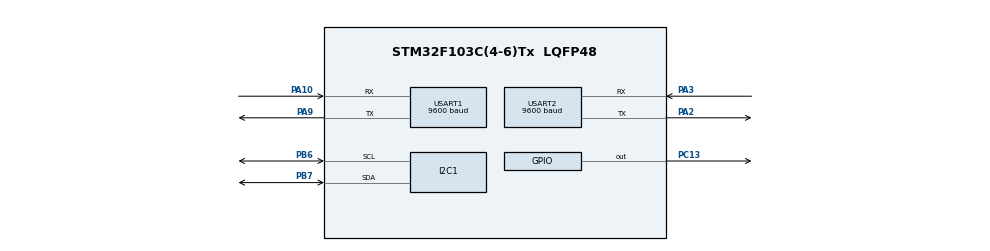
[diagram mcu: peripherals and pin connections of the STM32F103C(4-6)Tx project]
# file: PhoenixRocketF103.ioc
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Mcu.Family=STM32F1
Mcu.Name=STM32F103C(4-6)Tx
Mcu.Package=LQFP48
NVIC.PriorityGroup=NVIC_PRIORITYGROUP_4
NVIC.USART2_IRQn=true\:0\:0\:false\:false\:true\:true\:true\:true
PA10.Mode=Asynchronous
PA10.Signal=USART1_RX
PA13.Mode=Serial_Wire
PA13.Signal=SYS_JTMS-SWDIO
PA14.Mode=Serial_Wire
PA14.Signal=SYS_JTCK-SWCLK
PA2.Mode=Asynchronous
PA2.Signal=USART2_TX
PA3.Mode=Asynchronous
PA3.Signal=USART2_RX
PA9.Mode=Asynchronous
PA9.Signal=USART1_TX
PB6.GPIO_Pu=GPIO_NOPULL
PB6.Mode=I2C
PB6.Signal=I2C1_SCL
PB7.GPIO_Pu=GPIO_NOPULL
PB7.Mode=I2C
PB7.Signal=I2C1_SDA
PC13-TAMPER-RTC.Signal=GPIO_Output
ProjectManager.HeapSize=0x200
ProjectManager.StackSize=0x400
ProjectManager.TargetToolchain=STM32CubeIDE
RCC.APB1Freq_Value=8000000
RCC.APB2Freq_Value=8000000
USART1.BaudRate=9600
USART1.VirtualMode=VM_ASYNC
USART2.BaudRate=9600
USART2.VirtualMode=VM_ASYNC
board=custom

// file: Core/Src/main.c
/* USER CODE BEGIN Header */
/**
  ******************************************************************************
  * @file           : main.c
  * @brief          : Main program body
  ******************************************************************************
  * @attention
  *
  * Copyright (c) 2025 STMicroelectronics.
  * All rights reserved.
  *
  * This software is licensed under terms that can be found in the LICENSE file
  * in the root directory of this software component.
  * If no LICENSE file comes with this software, it is provided AS-IS.
  *
  ******************************************************************************
  */
/* USER CODE END Header */
#include "main.h"

/* USER CODE BEGIN Includes */
#include "mpu9250.h"
#include "string.h"
#include <stdio.h>
#include "bmp280.h"
/* USER CODE END Includes */

I2C_HandleTypeDef hi2c1;

UART_HandleTypeDef huart1;
UART_HandleTypeDef huart2;

void SystemClock_Config(void);
static void MX_GPIO_Init(void);
static void MX_I2C1_Init(void);
static void MX_USART1_UART_Init(void);
static void MX_USART2_UART_Init(void);

/* USER CODE BEGIN 0 */

void send_uart_message(char *message) {
    HAL_UART_Transmit(&huart1, (uint8_t*)message, strlen(message), HAL_MAX_DELAY);
}
void UART_Send_LowByte(UART_HandleTypeDef *huart, int16_t data) {
    uint8_t lowerByte = data & 0xFF;  // Extract the lower 8 bits
    HAL_UART_Transmit(huart, &lowerByte, 1, HAL_MAX_DELAY);  // Send only 1 byte
}
//void sendFloatAsString(float value) {
//	uint32_t val=(uint32_t)value;
//	HAL_UART_Transmit(&huart1,&val ,1, HAL_MAX_DELAY);
//}
void sendFloatAsBytes(float value) {
    uint8_t buffer[4];
    memcpy(buffer, &value, 4);  // Float'ı 4 byte'a böl
    HAL_UART_Transmit(&huart1, buffer, 4, HAL_MAX_DELAY);
}

void sendGyroData(int16_t gx,int16_t gy,int16_t gz) {
    uint8_t data[6];

    // Convert int16_t values to bytes
    data[0] = (gx >> 8) & 0xFF;  data[1] = gx & 0xFF;
    data[2] = (gy >> 8) & 0xFF;  data[3] = gy & 0xFF;
    data[4] = (gz >> 8) & 0xFF;  data[5] = gz & 0xFF;

    // Send all 6 bytes
    HAL_UART_Transmit(&huart1, data, 6, HAL_MAX_DELAY);
}

void sendBmpData(float altitude, float pressure, float temperature) {
    sendFloatAsBytes(altitude);
    sendFloatAsBytes(pressure);
    sendFloatAsBytes(temperature);
}

MPU9250_Data mpu_data;

#include "lwgps/lwgps.h"
lwgps_t gps;

uint8_t rx_buffer [128] ;
uint8_t rx_data = 0 ;
uint8_t rx_index = 0 ;

void HAL_UART_RxCpltCallback(UART_HandleTypeDef *huart){
	if(huart == &huart2){
		if(rx_data != '\n' && rx_index < sizeof(rx_buffer)){
			rx_buffer[rx_index] = rx_data;
			rx_index++;
		}else{
			lwgps_process(&gps, rx_buffer, rx_index+1);
			rx_index = 0;
			rx_data = 0; //
		}
		HAL_UART_Receive_IT(&huart2, &rx_data, 1);
	}

}

/* USER CODE END 0 */

int main(void)
{

  /* MCU Configuration--------------------------------------------------------*/

  /* Reset of all peripherals, Initializes the Flash interface and the Systick. */
  HAL_Init();

  /* Configure the system clock */
  SystemClock_Config();

  /* Initialize all configured peripherals */
  MX_GPIO_Init();
  MX_I2C1_Init();
  MX_USART1_UART_Init();
  MX_USART2_UART_Init();
  /* USER CODE BEGIN 2 */
  lwgps_init(&gps);

  HAL_UART_Receive_IT(&huart2, &rx_data, 1);

  MPU9250_Init(&hi2c1);
  BMP280_Data bmp280_data;
  BMP280_Init(&hi2c1, &bmp280_data);
//  char msg[] = "Hello, UART!\r\n";

  /* USER CODE END 2 */

  /* Infinite loop */
  /* USER CODE BEGIN WHILE */
  while (1)
  {
//	  sendFloatAsBytes(gps.latitude);
//
//	  gps.sats_in_view;

//	  send_uart_message(msg);
	  HAL_Delay(100);
	  BMP280_Read_Data(&hi2c1, &bmp280_data);

//	  MPU9250_Read_All(&hi2c1, &mpu_data);
	  sendBmpData(bmp280_data.altitude, bmp280_data.pressure, bmp280_data.temperature);

    /* USER CODE END WHILE */

  }
}

void SystemClock_Config(void)
{
  RCC_OscInitTypeDef RCC_OscInitStruct = {0};
  RCC_ClkInitTypeDef RCC_ClkInitStruct = {0};

  /** Initializes the RCC Oscillators according to the specified parameters
  * in the RCC_OscInitTypeDef structure.
  */
  RCC_OscInitStruct.OscillatorType = RCC_OSCILLATORTYPE_HSI;
  RCC_OscInitStruct.HSIState = RCC_HSI_ON;
  RCC_OscInitStruct.HSICalibrationValue = RCC_HSICALIBRATION_DEFAULT;
  RCC_OscInitStruct.PLL.PLLState = RCC_PLL_NONE;
  if (HAL_RCC_OscConfig(&RCC_OscInitStruct) != HAL_OK)
  {
    Error_Handler();
  }

  /** Initializes the CPU, AHB and APB buses clocks
  */
  RCC_ClkInitStruct.ClockType = RCC_CLOCKTYPE_HCLK|RCC_CLOCKTYPE_SYSCLK
                              |RCC_CLOCKTYPE_PCLK1|RCC_CLOCKTYPE_PCLK2;
  RCC_ClkInitStruct.SYSCLKSource = RCC_SYSCLKSOURCE_HSI;
  RCC_ClkInitStruct.AHBCLKDivider = RCC_SYSCLK_DIV1;
  RCC_ClkInitStruct.APB1CLKDivider = RCC_HCLK_DIV1;
  RCC_ClkInitStruct.APB2CLKDivider = RCC_HCLK_DIV1;

  if (HAL_RCC_ClockConfig(&RCC_ClkInitStruct, FLASH_LATENCY_0) != HAL_OK)
  {
    Error_Handler();
  }
}

static void MX_I2C1_Init(void)
{

  hi2c1.Instance = I2C1;
  hi2c1.Init.ClockSpeed = 100000;
  hi2c1.Init.DutyCycle = I2C_DUTYCYCLE_2;
  hi2c1.Init.OwnAddress1 = 0;
  hi2c1.Init.AddressingMode = I2C_ADDRESSINGMODE_7BIT;
  hi2c1.Init.DualAddressMode = I2C_DUALADDRESS_DISABLE;
  hi2c1.Init.OwnAddress2 = 0;
  hi2c1.Init.GeneralCallMode = I2C_GENERALCALL_DISABLE;
  hi2c1.Init.NoStretchMode = I2C_NOSTRETCH_DISABLE;
  if (HAL_I2C_Init(&hi2c1) != HAL_OK)
  {
    Error_Handler();
  }

}

static void MX_USART1_UART_Init(void)
{

  huart1.Instance = USART1;
  huart1.Init.BaudRate = 9600;
  huart1.Init.WordLength = UART_WORDLENGTH_8B;
  huart1.Init.StopBits = UART_STOPBITS_1;
  huart1.Init.Parity = UART_PARITY_NONE;
  huart1.Init.Mode = UART_MODE_TX_RX;
  huart1.Init.HwFlowCtl = UART_HWCONTROL_NONE;
  huart1.Init.OverSampling = UART_OVERSAMPLING_16;
  if (HAL_UART_Init(&huart1) != HAL_OK)
  {
    Error_Handler();
  }

}

static void MX_USART2_UART_Init(void)
{

  huart2.Instance = USART2;
  huart2.Init.BaudRate = 9600;
  huart2.Init.WordLength = UART_WORDLENGTH_8B;
  huart2.Init.StopBits = UART_STOPBITS_1;
  huart2.Init.Parity = UART_PARITY_NONE;
  huart2.Init.Mode = UART_MODE_TX_RX;
  huart2.Init.HwFlowCtl = UART_HWCONTROL_NONE;
  huart2.Init.OverSampling = UART_OVERSAMPLING_16;
  if (HAL_UART_Init(&huart2) != HAL_OK)
  {
    Error_Handler();
  }

}

static void MX_GPIO_Init(void)
{
  GPIO_InitTypeDef GPIO_InitStruct = {0};

  /* GPIO Ports Clock Enable */
  __HAL_RCC_GPIOC_CLK_ENABLE();
  __HAL_RCC_GPIOA_CLK_ENABLE();
  __HAL_RCC_GPIOB_CLK_ENABLE();

  /*Configure GPIO pin Output Level */
  HAL_GPIO_WritePin(GPIOC, GPIO_PIN_13, GPIO_PIN_RESET);

  /*Configure GPIO pin : PC13 */
  GPIO_InitStruct.Pin = GPIO_PIN_13;
  GPIO_InitStruct.Mode = GPIO_MODE_OUTPUT_PP;
  GPIO_InitStruct.Pull = GPIO_NOPULL;
  GPIO_InitStruct.Speed = GPIO_SPEED_FREQ_LOW;
  HAL_GPIO_Init(GPIOC, &GPIO_InitStruct);

}

void Error_Handler(void)
{
  __disable_irq();
  while (1)
  {
  }
}
